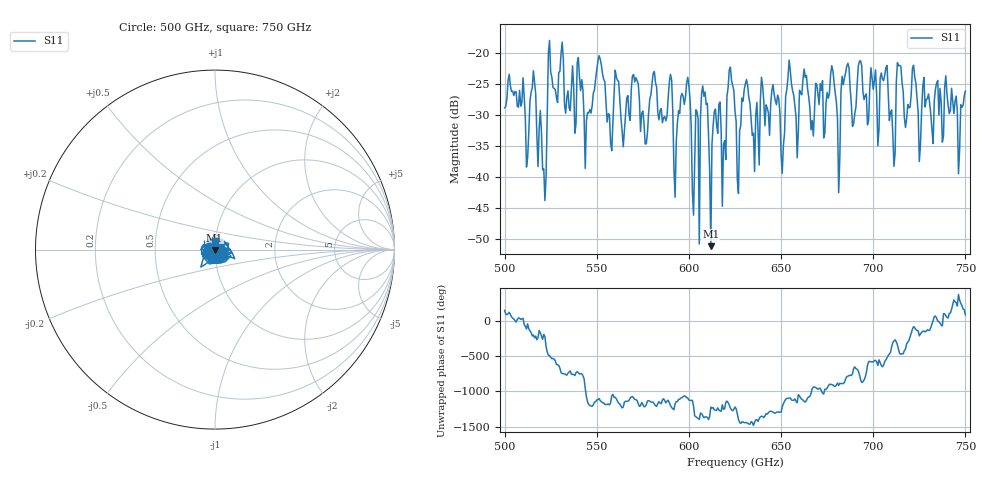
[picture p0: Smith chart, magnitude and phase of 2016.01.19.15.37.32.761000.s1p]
!Created with skrf (http://scikit-rf.org).
# GHz S RI R 50.0
!freq ReS11 ImS11
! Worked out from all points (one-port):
!   401 points, 500 GHz to 750 GHz, reference 50 ohm
!   lowest |S11| = -51.2 dB at 611.9 GHz (marker M1), VSWR 1.01, Z = 49.8 - j0.165 ohm
!   |S11| at or under -10 dB: start of sweep to end of sweep
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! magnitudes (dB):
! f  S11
! 500 GHz  -28.9
! 512.5 GHz  -36.9
! 515.6 GHz  -22.9
! 521.2 GHz  -38.7
! 524.4 GHz  -18.1
! 531.2 GHz  -18.3
! 544.4 GHz  -31.0
! 551.2 GHz  -20.5
! 556.9 GHz  -30.0
! 562.5 GHz  -27.5
! 590 GHz  -23.5
! 593.8 GHz  -31.3
! 599.4 GHz  -24.0
! 602.5 GHz  -46.2
! 608.1 GHz  -27.0
! 611.9 GHz  -51.2
! 615.6 GHz  -33.0
! 618.8 GHz  -34.8
! 621.9 GHz  -22.8
! 625 GHz  -29.4
! 646.2 GHz  -26.7
! 650.6 GHz  -39.4
! 656.2 GHz  -26.1
! 678.1 GHz  -23.0
! 680.6 GHz  -30.7
! 687.5 GHz  -25.8
! 718.8 GHz  -28.4
! 750 GHz  -26.2
